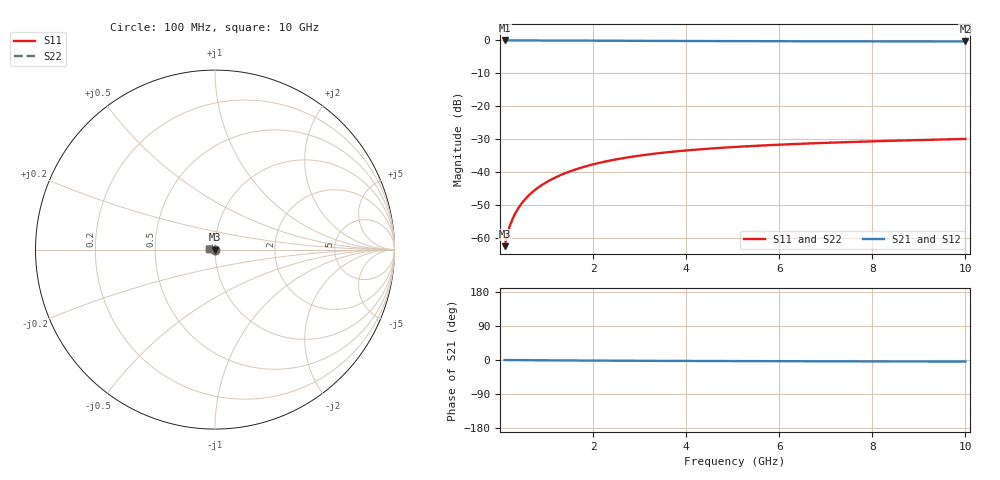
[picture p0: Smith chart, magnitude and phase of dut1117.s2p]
! Touchstone file exported from HFSS 2024.1.0
!  File:  C:/UserFiles/LocalFiles/RDL_TSV_Batchsim/temp_TSV1_1117_1780068671.aedt
!  Generated:  11:36:03 PM May 29, 2026
!  Design:  TSV1
!  Project:  temp_TSV1_1117_1780068671
!  Setup:  Setup1
!  Solution:  Sweep
! Variables:
!  dtsv = 7.02um
!  hbump = 3um
!  htsv = 64.33um
!  lrdl = 252.1521522um
!  p = 40
!  p1 = 40.44um
!  t = 500um
!  trdl = 3um
!  wrdl = 24.89489489um
# GHz S MA R 50.000000
! Terminal data exported
! Port[1] = TSV22_T1
! Port[2] = TSV22_T2
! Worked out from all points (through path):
!   100 points, 100 MHz to 10 GHz, reference 50 ohm
!   highest |S21| = 0.00 dB at 100 MHz (marker M1); lowest = -0.3 dB at 10 GHz (marker M2)
!   lowest |S11| = -62.4 dB at 100 MHz (marker M3), VSWR 1.00, Z = 50 - j0.0726 ohm
!   |S11| at or under -10 dB: start of sweep to end of sweep
!   |S22| runs from -62.4 to -29.8 dB; largest |S21 - S12| = 4.3e-15
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0.1  0.0007628 -72.0  0.9997 -0.1  0.9997 -0.1  0.0007628 -72.0
! Gamma 0 0 0 0
! Port Impedance 50 0 50 0
0.2  0.001478 -83.2  0.9996 -0.2  0.9996 -0.2  0.001478 -83.2
0.3  0.002201 -88.2  0.9995 -0.3  0.9995 -0.3  0.002201 -88.2
0.4  0.002923 -91.6  0.9994 -0.3  0.9994 -0.3  0.002923 -91.6
0.5  0.003642 -94.3  0.9992 -0.4  0.9992 -0.4  0.003642 -94.3
0.6  0.004354 -96.6  0.9989 -0.5  0.9989 -0.5  0.004354 -96.6
0.7  0.00506 -98.8  0.9987 -0.6  0.9987 -0.6  0.00506 -98.8
0.8  0.005758 -100.8  0.9983 -0.7  0.9983 -0.7  0.005758 -100.8
0.9  0.006447 -102.7  0.998 -0.8  0.998 -0.8  0.006447 -102.7
1.1  0.007794 -106.3  0.9972 -0.9  0.9972 -0.9  0.007794 -106.3
1.4  0.009728 -111.4  0.9958 -1.1  0.9958 -1.1  0.009728 -111.4
1.6  0.01095 -114.7  0.9948 -1.3  0.9948 -1.3  0.01095 -114.7
1.8  0.01212 -117.7  0.9937 -1.4  0.9937 -1.4  0.01212 -117.7
2.1  0.01377 -122.2  0.992 -1.6  0.992 -1.6  0.01377 -122.2
2.5  0.01577 -127.7  0.9896 -1.8  0.9896 -1.8  0.01577 -127.7
2.9  0.01756 -132.8  0.9873 -2.0  0.9873 -2.0  0.01756 -132.8
3.4  0.01951 -138.7  0.9845 -2.3  0.9845 -2.3  0.01951 -138.7
4.2  0.02211 -147.1  0.9805 -2.6  0.9805 -2.6  0.02211 -147.1
5.1  0.02443 -155.2  0.9767 -2.8  0.9767 -2.8  0.02443 -155.2
6.7  0.02756 -167.1  0.9717 -3.3  0.9717 -3.3  0.02756 -167.1
8.4  0.03012 -177.4  0.968 -3.8  0.968 -3.8  0.03012 -177.4
10  0.03219 174.5  0.9655 -4.2  0.9655 -4.2  0.03219 174.5
